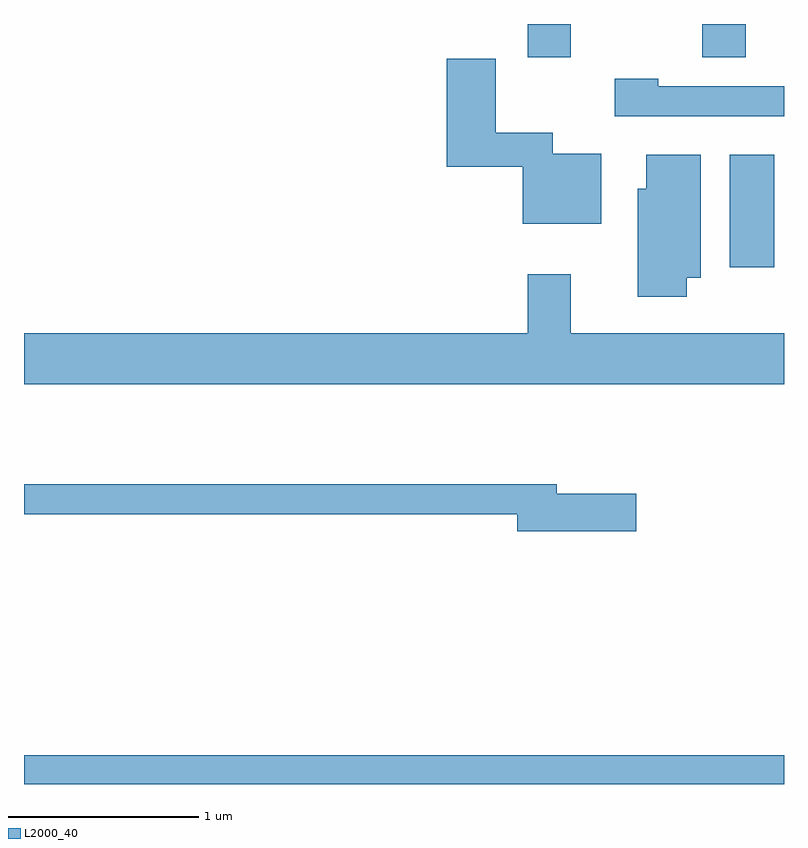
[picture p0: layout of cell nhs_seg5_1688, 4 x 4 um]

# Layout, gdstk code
import gdstk
lib = gdstk.Library(unit=1e-6, precision=1e-09)
def R(c, l, rs):  # rectangles x0, y0, x1, y1
    for r in rs: c.add(gdstk.rectangle(r[:2], r[2:], *l))
def P(c, l, *ps):  # polygons
    for p in ps: c.add(gdstk.Polygon(p, *l))
L2000_40 = (2000, 40)

nhs_seg5_1688 = lib.new_cell('nhs_seg5_1688')
R(nhs_seg5_1688, L2000_40, [(235.611,1408.072,239.611,1408.224), (239.326,1410.791,239.559,1411.384), (238.261,1411.896,238.489,1412.072), (239.181,1411.896,239.409,1412.072)])
P(nhs_seg5_1688, L2000_40, [(238.649,1411.389),(238.394,1411.389),(238.394,1411.499),(238.094,1411.499),(238.094,1411.889),(237.836,1411.889),(237.836,1411.321),(238.236,1411.321),(238.236,1411.021),(238.649,1411.021)],
  [(239.611,1411.744),(238.949,1411.744),(238.949,1411.784),(238.721,1411.784),(238.721,1411.586),(239.611,1411.586)],
  [(239.099,1410.736),(239.174,1410.736),(239.174,1411.384),(238.886,1411.384),(238.886,1411.204),(238.841,1411.204),(238.841,1410.636),(239.099,1410.636)],
  [(239.611,1410.444),(238.489,1410.444),(238.489,1410.754),(238.261,1410.754),(238.261,1410.444),(235.611,1410.444),(235.611,1410.176),(239.611,1410.176)],
  [(238.834,1409.599),(238.414,1409.599),(238.414,1409.649),(235.611,1409.649),(235.611,1409.491),(238.206,1409.491),(238.206,1409.401),(238.834,1409.401)])

lib.write_gds('nhs_seg5_1688.gds')
